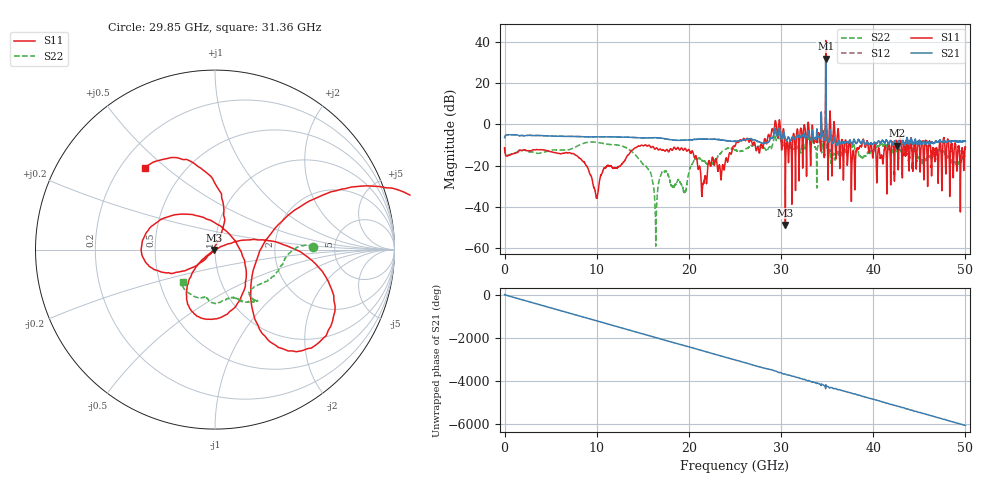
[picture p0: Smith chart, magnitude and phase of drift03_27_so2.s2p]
!Created with skrf (http://scikit-rf.org).
# Hz S RI R 50.0
!freq ReS11 ImS11 ReS21 ImS21 ReS12 ImS12 ReS22 ImS22
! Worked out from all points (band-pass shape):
!   10001 points, 300 kHz to 50 GHz, reference 50 ohm
!   highest |S21| = 31.84 dB at 34.85 GHz (marker M1); lowest = -10.4 dB at 42.56 GHz (marker M2)
!   |S21| within 3 dB of the highest: 34.84415 GHz to 34.84583 GHz (1.682 MHz wide, 0.00483 % of centre)
!   lowest |S11| = -48.8 dB at 30.47 GHz (marker M3), VSWR 1.01, Z = 49.7 - j0.156 ohm
!   |S11| at or under -10 dB: start of sweep to 15.22 GHz; 15.33 GHz to 25.05 GHz (9.726 GHz wide, 48.2 % of centre); 40.22 GHz to 41.62 GHz (1.402 GHz wide, 3.42 % of centre) (the widest 3 of 54)
!   |S22| runs from -59.1 to 22.9 dB; largest |S21 - S12| = 5.5
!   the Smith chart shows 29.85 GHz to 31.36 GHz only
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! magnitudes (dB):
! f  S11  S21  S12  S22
! 300 kHz  -11.4  -6.5  -6.5  -11.5
! 8.335 GHz  -17.1  -6.0  -6.0  -9.6
! 9.955 GHz  -35.5  -6.1  -6.1  -8.7
! 11 GHz  -20.9  -6.0  -6.1  -9.5
! 13.91 GHz  -12.4  -6.3  -6.3  -13.7
! 16.36 GHz  -11.9  -6.5  -6.5  -43.0
! 16.67 GHz  -12.4  -6.6  -6.5  -29.5
! 17.33 GHz  -12.7  -6.9  -6.9  -22.9
! 19.54 GHz  -11.7  -7.7  -7.7  -32.9
! 20.22 GHz  -13.9  -7.5  -7.5  -20.2
! 21.55 GHz  -28.6  -7.2  -7.2  -17.7
! 25 GHz  -10.6  -8.3  -8.2  -12.5
! 29.6 GHz  -5.5  -5.7  -5.9  -7.8
! 30.47 GHz  -48.8  -7.2  -7.2  -9.1
! 33.34 GHz  -3.7  -6.9  -6.8  -9.4
! 34.85 GHz  40.7  31.8  31.6  22.9
! 35.63 GHz  -6.6  -9.2  -9.1  -16.1
! 37.82 GHz  -12.8  -8.4  -8.4  -10.0
! 38.81 GHz  -9.2  -8.3  -8.3  -16.1
! 41.67 GHz  -9.5  -9.5  -9.4  -11.4
! 42.56 GHz  -8.2  -10.4  -10.5  -13.3
! 50 GHz  -11.1  -8.2  -8.2  -15.5
